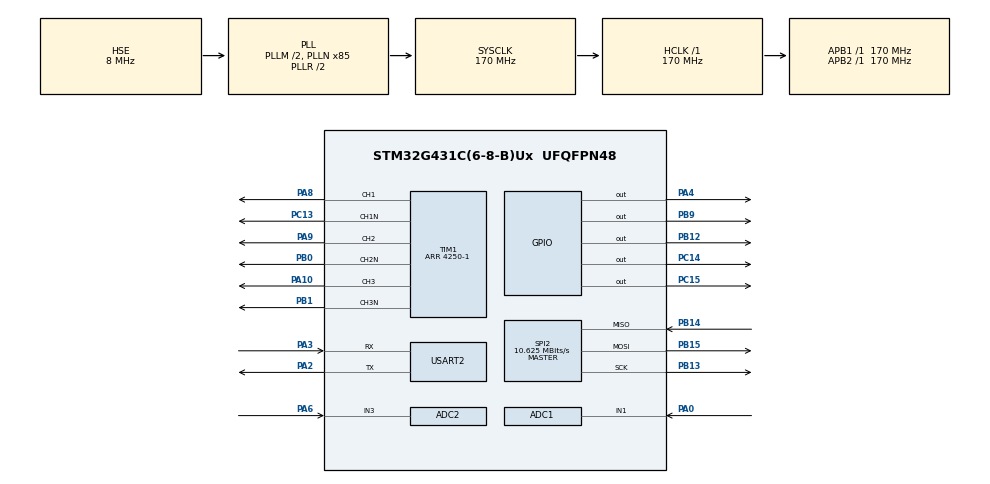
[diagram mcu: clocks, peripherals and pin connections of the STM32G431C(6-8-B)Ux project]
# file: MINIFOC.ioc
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ADC1.Channel-0\#ChannelRegularConversion=ADC_CHANNEL_1
ADC1.NbrOfConversionFlag=1
ADC1.OffsetNumber-0\#ChannelRegularConversion=ADC_OFFSET_NONE
ADC1.Rank-0\#ChannelRegularConversion=1
ADC1.SamplingTime-0\#ChannelRegularConversion=ADC_SAMPLETIME_47CYCLES_5
ADC1.master=1
ADC2.Channel-0\#ChannelRegularConversion=ADC_CHANNEL_3
ADC2.NbrOfConversionFlag=1
ADC2.OffsetNumber-0\#ChannelRegularConversion=ADC_OFFSET_NONE
ADC2.Rank-0\#ChannelRegularConversion=1
ADC2.SamplingTime-0\#ChannelRegularConversion=ADC_SAMPLETIME_47CYCLES_5
Mcu.Family=STM32G4
Mcu.Name=STM32G431C(6-8-B)Ux
Mcu.Package=UFQFPN48
NVIC.PriorityGroup=NVIC_PRIORITYGROUP_4
NVIC.TIM1_CC_IRQn=true\:0\:0\:false\:false\:true\:true\:true\:true
NVIC.TIM1_TRG_COM_TIM17_IRQn=true\:0\:0\:false\:false\:true\:true\:true\:true
NVIC.TIM1_UP_TIM16_IRQn=true\:0\:0\:false\:false\:true\:true\:true\:true
PA0.Mode=IN1-Single-Ended
PA0.Signal=ADC1_IN1
PA10.Signal=S_TIM1_CH3
PA13.Mode=Serial_Wire
PA13.Signal=SYS_JTMS-SWDIO
PA14.Mode=Serial_Wire
PA14.Signal=SYS_JTCK-SWCLK
PA2.Mode=Asynchronous
PA2.Signal=USART2_TX
PA3.Mode=Asynchronous
PA3.Signal=USART2_RX
PA4.Signal=GPIO_Output
PA6.Mode=IN3-Single-Ended
PA6.Signal=ADC2_IN3
PA8.Signal=S_TIM1_CH1
PA9.Signal=S_TIM1_CH2
PB0.Mode=PWM Generation2 CH2 CH2N
PB0.Signal=TIM1_CH2N
PB1.Mode=PWM Generation3 CH3 CH3N
PB1.Signal=TIM1_CH3N
PB12.GPIO_Speed=GPIO_SPEED_FREQ_HIGH
PB12.Signal=GPIO_Output
PB13.Mode=Full_Duplex_Master
PB13.Signal=SPI2_SCK
PB14.Mode=Full_Duplex_Master
PB14.Signal=SPI2_MISO
PB15.Mode=Full_Duplex_Master
PB15.Signal=SPI2_MOSI
PB9.Signal=GPIO_Output
PC13.Mode=PWM Generation1 CH1 CH1N
PC13.Signal=TIM1_CH1N
PC14-OSC32_IN.Signal=GPIO_Output
PC15-OSC32_OUT.Signal=GPIO_Output
PF0-OSC_IN.Mode=HSE-External-Oscillator
PF0-OSC_IN.Signal=RCC_OSC_IN
PF1-OSC_OUT.Mode=HSE-External-Oscillator
PF1-OSC_OUT.Signal=RCC_OSC_OUT
ProjectManager.HeapSize=0x200
ProjectManager.StackSize=0x400
ProjectManager.TargetToolchain=MDK-ARM V5.32
RCC.ADC12Freq_Value=170000000
RCC.AHBFreq_Value=170000000
RCC.APB1Freq_Value=170000000
RCC.APB1TimFreq_Value=170000000
RCC.APB2Freq_Value=170000000
RCC.APB2TimFreq_Value=170000000
RCC.CortexFreq_Value=170000000
RCC.EXTERNAL_CLOCK_VALUE=12288000
RCC.HCLKFreq_Value=170000000
RCC.HSE_VALUE=8000000
RCC.HSI48_VALUE=48000000
RCC.HSI_VALUE=16000000
RCC.LSE_VALUE=32768
RCC.PLLM=RCC_PLLM_DIV2
RCC.PLLN=85
RCC.PLLSourceVirtual=RCC_PLLSOURCE_HSE
RCC.SYSCLKFreq_VALUE=170000000
RCC.SYSCLKSource=RCC_SYSCLKSOURCE_PLLCLK
RCC.USBFreq_Value=170000000
RCC.VCOOutputFreq_Value=340000000
SH.S_TIM1_CH1.0=TIM1_CH1,PWM Generation1 CH1 CH1N
SH.S_TIM1_CH2.0=TIM1_CH2,PWM Generation2 CH2 CH2N
SH.S_TIM1_CH3.0=TIM1_CH3,PWM Generation3 CH3 CH3N
SPI2.BaudRatePrescaler=SPI_BAUDRATEPRESCALER_16
SPI2.CLKPhase=SPI_PHASE_2EDGE
SPI2.CLKPolarity=SPI_POLARITY_HIGH
SPI2.CalculateBaudRate=10.625 MBits/s
SPI2.DataSize=SPI_DATASIZE_16BIT
SPI2.Direction=SPI_DIRECTION_2LINES
SPI2.Mode=SPI_MODE_MASTER
SPI2.VirtualType=VM_MASTER
STMicroelectronics.X-CUBE-ALGOBUILD.1.3.0.LibraryCcDSPOoLibraryJjDSPOoLibrary=true
TIM1.AutomaticOutput=TIM_AUTOMATICOUTPUT_DISABLE
TIM1.Break2State=TIM_BREAK2_DISABLE
TIM1.Channel-Output\ Compare4\ No\ Output=TIM_CHANNEL_4
TIM1.Channel-PWM\ Generation1\ CH1\ CH1N=TIM_CHANNEL_1
TIM1.Channel-PWM\ Generation2\ CH2\ CH2N=TIM_CHANNEL_2
TIM1.Channel-PWM\ Generation3\ CH3\ CH3N=TIM_CHANNEL_3
TIM1.CounterMode=TIM_COUNTERMODE_CENTERALIGNED2
TIM1.DeadTime=20
TIM1.DeadTimePreload=DISABLE
TIM1.OCMode_4=TIM_OCMODE_ACTIVE
TIM1.OCMode_PWM-PWM\ Generation1\ CH1\ CH1N=TIM_OCMODE_PWM1
TIM1.OCMode_PWM-PWM\ Generation2\ CH2\ CH2N=TIM_OCMODE_PWM1
TIM1.OCMode_PWM-PWM\ Generation3\ CH3\ CH3N=TIM_OCMODE_PWM1
TIM1.OCNIdleState_1=TIM_OCNIDLESTATE_SET
TIM1.OCNIdleState_2=TIM_OCNIDLESTATE_SET
TIM1.OCNIdleState_3=TIM_OCNIDLESTATE_SET
TIM1.OCNPolarity_1=TIM_OCNPOLARITY_LOW
TIM1.OCNPolarity_2=TIM_OCNPOLARITY_LOW
TIM1.OCNPolarity_3=TIM_OCNPOLARITY_LOW
TIM1.OffStateIDLEMode=TIM_OSSI_ENABLE
TIM1.OffStateRunMode=TIM_OSSR_ENABLE
TIM1.PeriodNoDither=4250-1
USART2.VirtualMode-Asynchronous=VM_ASYNC
VP_CORDIC_VS_CORDIC.Mode=CORDIC_Activate
VP_STMicroelectronics.X-CUBE-ALGOBUILD_VS_DSPOoLibraryJjLibrary_1.3.0_1.3.0.Mode=DSPOoLibraryJjLibrary
VP_SYS_VS_DBSignals.Mode=DisableDeadBatterySignals
VP_TIM1_VS_no_output4.Mode=Output Compare4 No Output
board=custom

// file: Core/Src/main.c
/* USER CODE BEGIN Header */
/**
  ******************************************************************************
  * @file           : main.c
  * @brief          : Main program body
  ******************************************************************************
  * @attention
  *
  * Copyright (c) 2024 STMicroelectronics.
  * All rights reserved.
  *
  * This software is licensed under terms that can be found in the LICENSE file
  * in the root directory of this software component.
  * If no LICENSE file comes with this software, it is provided AS-IS.
  *
  ******************************************************************************
  */
/* USER CODE END Header */
#include "main.h"
#include "adc.h"
#include "cordic.h"
#include "spi.h"
#include "tim.h"
#include "usart.h"
#include "gpio.h"

/* USER CODE BEGIN Includes */

//TEST PARA

float theta=0;
//TEST PARA
#include "stdio.h"
int fputc(int ch, FILE *f)
{
	HAL_UART_Transmit(&huart2,(uint8_t*)&ch,1,10);
	return ch;
}

#include "SVPWM.h"
#include "Cordic_.h"
#include "math.h"
#include "arm_math.h"
#include "MT6816.h"
#include "SMO.h"
#include "tim.h"
#include "BLDC.h"

uint8_t flag_cmd=0;
uint16_t SetVal=0;

uint16_t adcval[3]={0};
void ADC_Calibration(void)
{
	HAL_ADCEx_Calibration_Start(&hadc1 , ADC_SINGLE_ENDED);    //ADУ׼
	//while (HAL_ADCEx_Calibration_GetState(&hadc) != HAL_ADC_CALIBRATION_STATE_COMPLETED);//��У׼
}

void HAL_TIM_PeriodElapsedCallback(TIM_HandleTypeDef *htim)
{
	if (htim == &htim1)
	{
		HAL_GPIO_TogglePin(GPIOC , GPIO_PIN_14);
		//ADC
		HAL_ADC_Start(&hadc1);
		HAL_ADC_Start(&hadc2);
		while(!(HAL_ADC_GetState(&hadc1), HAL_ADC_STATE_REG_EOC));
		while(!(HAL_ADC_GetState(&hadc2), HAL_ADC_STATE_REG_EOC));

		//MT6816
		getmagval=MT6816_ReadVal();
	}
}

//SVPWM

/* USER CODE END Includes */

void SystemClock_Config(void);

int main(void)
{

  /* MCU Configuration--------------------------------------------------------*/

  /* Reset of all peripherals, Initializes the Flash interface and the Systick. */
  HAL_Init();

  /* Configure the system clock */
  SystemClock_Config();

  /* Initialize all configured peripherals */
  MX_GPIO_Init();
  MX_TIM1_Init();
  MX_SPI2_Init();
  MX_ADC1_Init();
  MX_ADC2_Init();
  MX_USART2_UART_Init();
  MX_CORDIC_Init();
  /* USER CODE BEGIN 2 */

//	HAL_TIM_Base_Start_IT(&htim1);
//	__HAL_TIM_SetCompare(&htim1,    TIM_CHANNEL_4   , 8500-1);
//		HAL_TIM_OC_Start_IT(&htim1, TIM_CHANNEL_4);

//INIT
		InitCordic();
		InitBLDC(&ThisBLDC);
		Init_SMO(&ThisS , 5.f/8.f*0.4 , 5.f/8.f*0.4 , 5 , 1);

		//InitcompIq_calibration(&ThisBLDC , &ThisIqComp);
		//compIq_calibration(&ThisBLDC , &ThisIqComp);

		 //ThisBLDC.w_mecexp=-3.14159;
		//Init_SMO(&ThisS , 0.00005f/0.00008f*0.4 , 0.00005f/0.00008f*0.4 , 5 , 1);

  /* USER CODE END 2 */

  /* Infinite loop */
  /* USER CODE BEGIN WHILE */
  while (1)
  {
		//HAL_Delay(10);
		HAL_GPIO_WritePin(GPIOA , GPIO_PIN_4 , GPIO_PIN_SET);
		theta=angleanaloging(theta);
//		compIq_calibration(&ThisBLDC , &ThisIqComp);
//		Org_E_Calibration(flag_cmd , SetVal);
//		SV_PWM_Cal(&ThisSV , 4 , 0, 10 , sinf(theta) , cosf(theta)  );
//		printf("%.4f\n", ThisBLDC.Id);
	//	printf("%.4f,%d,%.4f,%.4f,%.4f,%.4f,%.4f,%.4f,%.4f\n" , ThisBLDC.theta , ThisBLDC.raw_angle  ,  ThisBLDC.fil_thetaE , ThisBLDC.thetaE , ThisBLDC.w_mec , \
					ThisBLDC.Ia, ThisBLDC.sinthetaE ,ThisBLDC.costhetaE);
//    printf("%.4f,%.4f,%.4f,%.4f,%.4f,%.4f,%.4f,%.4f\n" , ThisSV.Ta , ThisSV.Tb ,  ThisBLDC.delta_theta ,ThisBLDC.theta ,ThisBLDC.thetaE,ThisBLDC.w_mec , ThisBLDC.sinthetaE, ThisBLDC.costhetaE );
    printf("%d,%d,%d,%d,%.4f,%.4f,%.4f,%.4f\n" , ThisBLDC.exppos , ThisBLDC.thiserr_pos ,  ThisBLDC.raw_angle_buffer ,ThisBLDC.averposerr ,ThisBLDC.thetaE,ThisBLDC.w_mec , ThisBLDC.sinthetaE, ThisBLDC.costhetaE );

 		HAL_GPIO_WritePin(GPIOA , GPIO_PIN_4 , GPIO_PIN_RESET);
    /* USER CODE END WHILE */

  }
}

void SystemClock_Config(void)
{
  RCC_OscInitTypeDef RCC_OscInitStruct = {0};
  RCC_ClkInitTypeDef RCC_ClkInitStruct = {0};

  /** Configure the main internal regulator output voltage
  */
  HAL_PWREx_ControlVoltageScaling(PWR_REGULATOR_VOLTAGE_SCALE1_BOOST);

  /** Initializes the RCC Oscillators according to the specified parameters
  * in the RCC_OscInitTypeDef structure.
  */
  RCC_OscInitStruct.OscillatorType = RCC_OSCILLATORTYPE_HSE;
  RCC_OscInitStruct.HSEState = RCC_HSE_ON;
  RCC_OscInitStruct.PLL.PLLState = RCC_PLL_ON;
  RCC_OscInitStruct.PLL.PLLSource = RCC_PLLSOURCE_HSE;
  RCC_OscInitStruct.PLL.PLLM = RCC_PLLM_DIV2;
  RCC_OscInitStruct.PLL.PLLN = 85;
  RCC_OscInitStruct.PLL.PLLP = RCC_PLLP_DIV2;
  RCC_OscInitStruct.PLL.PLLQ = RCC_PLLQ_DIV2;
  RCC_OscInitStruct.PLL.PLLR = RCC_PLLR_DIV2;
  if (HAL_RCC_OscConfig(&RCC_OscInitStruct) != HAL_OK)
  {
    Error_Handler();
  }

  /** Initializes the CPU, AHB and APB buses clocks
  */
  RCC_ClkInitStruct.ClockType = RCC_CLOCKTYPE_HCLK|RCC_CLOCKTYPE_SYSCLK
                              |RCC_CLOCKTYPE_PCLK1|RCC_CLOCKTYPE_PCLK2;
  RCC_ClkInitStruct.SYSCLKSource = RCC_SYSCLKSOURCE_PLLCLK;
  RCC_ClkInitStruct.AHBCLKDivider = RCC_SYSCLK_DIV1;
  RCC_ClkInitStruct.APB1CLKDivider = RCC_HCLK_DIV1;
  RCC_ClkInitStruct.APB2CLKDivider = RCC_HCLK_DIV1;

  if (HAL_RCC_ClockConfig(&RCC_ClkInitStruct, FLASH_LATENCY_4) != HAL_OK)
  {
    Error_Handler();
  }
}

void Error_Handler(void)
{
  __disable_irq();
  while (1)
  {
  }
}
